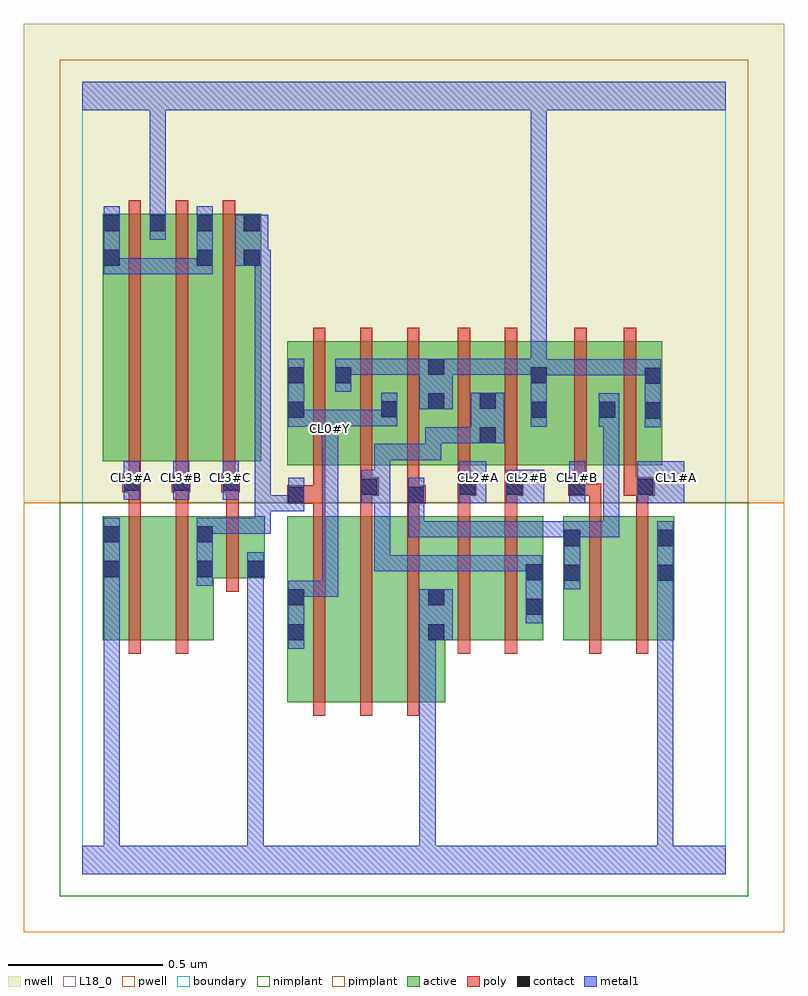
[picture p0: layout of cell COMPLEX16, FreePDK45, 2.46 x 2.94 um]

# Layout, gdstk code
import gdstk
lib = gdstk.Library(unit=1e-6, precision=1e-09)
def R(c, l, rs):  # rectangles x0, y0, x1, y1
    for r in rs: c.add(gdstk.rectangle(r[:2], r[2:], *l))
def A(c, l, x, y, w, h, nx, ny, dx, dy):  # array of equal rectangles
    R(c, l, [(x+i*dx, y+j*dy, x+i*dx+w, y+j*dy+h) for i in range(nx) for j in range(ny)])
active = (1, 0)
pwell = (2, 0)
nwell = (3, 0)
nimplant = (4, 0)
pimplant = (5, 0)
poly = (9, 0)
contact = (10, 0)
metal1 = (11, 0)
L18_0 = (18, 0)
boundary = (235, 0)

complex16 = lib.new_cell('COMPLEX16')
R(complex16, active, [(0.662,0.556,0.842,1.156), (0.662,0.556,0.722,1.156), (0.842,0.556,0.994,1.156), (0.994,0.556,1.174,1.156), (1.114,0.556,1.174,0.958), (0.066,0.756,0.126,1.156), (0.066,0.756,0.246,1.156), (0.246,0.756,0.426,1.156), (0.366,0.756,0.426,1.128), (1.114,0.756,1.31,1.156), (1.31,0.756,1.49,1.156), (1.43,0.756,1.49,1.156), (1.554,0.756,1.614,1.156), (1.554,0.756,1.734,1.156), (1.734,0.756,1.914,1.156), (1.854,0.756,1.914,1.156), (0.366,0.956,0.59,1.156), (0.53,0.956,0.59,1.156), (0.662,1.322,0.722,1.722), (0.662,1.322,0.874,1.722), (0.814,1.322,1.022,1.722), (0.962,1.322,1.022,1.722), (0.962,1.322,1.174,1.722), (1.114,1.322,1.174,1.722), (1.114,1.322,1.34,1.722), (1.28,1.322,1.34,1.722), (1.28,1.322,1.506,1.722), (1.446,1.322,1.726,1.722), (1.666,1.322,1.726,1.722), (1.666,1.322,1.874,1.722), (1.814,1.322,1.874,1.722), (0.066,1.334,0.126,2.134), (0.066,1.334,0.274,2.134), (0.214,1.334,0.426,2.134), (0.366,1.334,0.578,2.134), (0.518,1.334,0.578,2.134), (1.446,1.36,1.506,1.722), (0.214,1.526,0.274,2.134), (0.814,1.582,0.874,1.644), (0.366,1.686,0.426,2.134)])
R(complex16, pwell, [(-0.188,-0.188,2.268,1.2)])
R(complex16, nwell, [(-0.188,1.2,2.268,2.748)])
R(complex16, nimplant, [(-0.072,-0.072,2.152,1.2)])
R(complex16, pimplant, [(-0.072,1.2,2.152,2.632)])
A(complex16, poly, 0.746, 0.512, 0.04, 0.688, 3, 1, 0.152, 0)
A(complex16, poly, 0.13, 1.234, 0.06, 0.06, 3, 1, 0.16, 0)
A(complex16, poly, 0.15, 1.254, 0.04, 0.076, 3, 1, 0.152, 0)
A(complex16, poly, 0.746, 1.278, 0.04, 0.488, 3, 1, 0.152, 0)
A(complex16, poly, 0.15, 1.29, 0.04, 0.888, 3, 1, 0.152, 0)
R(complex16, poly, [(0.15,0.712,0.19,1.2), (0.302,0.712,0.342,1.2), (1.214,0.712,1.254,1.2), (1.366,0.712,1.406,1.2), (1.638,0.712,1.678,1.2), (1.79,0.712,1.83,1.2), (0.466,0.912,0.506,1.2), (0.15,1.16,0.19,1.274), (0.302,1.16,0.342,1.274), (0.466,1.16,0.506,1.274), (0.746,1.16,0.786,1.236), (0.898,1.16,0.938,1.262), (1.05,1.16,1.09,1.236), (1.214,1.16,1.254,1.262), (1.366,1.16,1.406,1.262), (1.638,1.16,1.678,1.262), (1.79,1.16,1.83,1.262), (0.662,1.196,0.786,1.256), (1.05,1.196,1.11,1.256), (0.746,1.216,0.786,1.256), (0.746,1.216,0.786,1.256), (0.746,1.216,0.786,1.318), (1.05,1.216,1.09,1.256), (1.05,1.216,1.09,1.256), (1.05,1.216,1.09,1.318), (0.898,1.222,0.938,1.262), (0.898,1.222,0.938,1.262), (0.898,1.222,0.958,1.282), (1.214,1.222,1.254,1.262), (1.214,1.222,1.254,1.262), (1.214,1.222,1.274,1.282), (1.366,1.222,1.406,1.262), (1.366,1.222,1.406,1.262), (1.366,1.222,1.426,1.282), (1.57,1.222,1.63,1.282), (1.59,1.222,1.63,1.262), (1.59,1.222,1.678,1.262), (1.75,1.222,1.85,1.282), (1.79,1.222,1.83,1.262), (1.79,1.222,1.83,1.262), (0.898,1.242,0.938,1.318), (1.214,1.242,1.254,1.318), (1.366,1.242,1.406,1.318), (1.59,1.242,1.63,1.318), (1.75,1.242,1.79,1.318), (0.15,1.254,0.19,1.294), (0.15,1.254,0.19,1.294), (0.302,1.254,0.342,1.294), (0.302,1.254,0.342,1.294), (0.454,1.254,0.494,1.294), (0.454,1.254,0.494,1.294), (1.214,1.278,1.254,1.766), (1.366,1.278,1.406,1.766), (1.59,1.278,1.63,1.766), (1.75,1.278,1.79,1.766)])
A(complex16, contact, 0.134, 1.238, 0.052, 0.052, 3, 1, 0.16, 0)
A(complex16, contact, 0.218, 2.078, 0.052, 0.052, 3, 1, 0.152, 0)
R(complex16, contact, [(0.666,0.756,0.718,0.808), (1.118,0.756,1.17,0.808), (1.434,0.838,1.486,0.89), (0.666,0.868,0.718,0.92), (1.118,0.868,1.17,0.92), (1.558,0.948,1.61,1), (1.858,0.948,1.91,1), (1.434,0.95,1.486,1.002), (0.07,0.96,0.122,1.012), (0.37,0.96,0.422,1.012), (0.534,0.96,0.586,1.012), (1.558,1.06,1.61,1.112), (1.858,1.06,1.91,1.112), (0.07,1.072,0.122,1.124), (0.37,1.072,0.422,1.124), (0.666,1.2,0.718,1.252), (1.054,1.2,1.106,1.252), (0.902,1.226,0.954,1.278), (1.218,1.226,1.27,1.278), (1.37,1.226,1.422,1.278), (1.574,1.226,1.626,1.278), (1.794,1.226,1.846,1.278), (1.284,1.392,1.336,1.444), (1.818,1.472,1.87,1.524), (0.666,1.474,0.718,1.526), (1.45,1.474,1.502,1.526), (1.67,1.474,1.722,1.526), (0.966,1.476,1.018,1.528), (1.118,1.502,1.17,1.554), (1.284,1.504,1.336,1.556), (1.818,1.584,1.87,1.636), (0.666,1.586,0.718,1.638), (0.818,1.586,0.87,1.638), (1.45,1.586,1.502,1.638), (1.118,1.614,1.17,1.666), (0.07,1.966,0.122,2.018), (0.37,1.966,0.422,2.018), (0.522,1.966,0.574,2.018), (0.07,2.078,0.122,2.13)])
A(complex16, metal1, 0.134, 1.21, 0.052, 0.124, 3, 1, 0.16, 0)
R(complex16, metal1, [(0,0,2.08,0.092), (0.07,0.04,0.122,0.092), (0.07,0.04,0.122,0.092), (0.07,0.04,0.122,0.092), (0.07,0.04,0.122,0.092), (0.07,0.04,0.122,0.092), (0.07,0.04,0.122,0.092), (0.07,0.04,0.122,0.092), (0.07,0.04,0.122,0.092), (0.07,0.04,0.122,0.092), (0.07,0.04,0.122,0.092), (0.07,0.04,0.122,0.984), (0.534,0.04,0.586,0.092), (0.534,0.04,0.586,0.092), (0.534,0.04,0.586,0.092), (0.534,0.04,0.586,0.092), (0.534,0.04,0.586,0.092), (0.534,0.04,0.586,0.092), (0.534,0.04,0.586,0.092), (0.534,0.04,0.586,0.092), (0.534,0.04,0.586,0.092), (0.534,0.04,0.586,0.092), (0.534,0.04,0.586,0.092), (0.534,0.04,0.586,0.092), (0.534,0.04,0.586,0.092), (0.534,0.04,0.586,0.092), (0.534,0.04,0.586,0.984), (1.09,0.04,1.142,0.092), (1.09,0.04,1.142,0.092), (1.09,0.04,1.142,0.092), (1.09,0.04,1.142,0.092), (1.09,0.04,1.142,0.092), (1.09,0.04,1.142,0.092), (1.09,0.04,1.142,0.092), (1.09,0.04,1.142,0.092), (1.09,0.04,1.142,0.808), (1.858,0.04,1.91,0.092), (1.858,0.04,1.91,0.092), (1.858,0.04,1.91,0.092), (1.858,0.04,1.91,0.092), (1.858,0.04,1.91,0.972), (0.666,0.728,0.718,0.948), (1.09,0.756,1.198,0.92), (1.434,0.81,1.486,1.03), (0.666,0.896,0.828,0.948), (0.776,0.896,0.828,0.948), (0.776,0.896,0.828,0.948), (0.776,0.896,0.828,0.948), (0.776,0.896,0.828,1.438), (1.558,0.92,1.61,1.14), (1.858,0.92,1.91,0.972), (1.858,0.92,1.91,0.972), (1.858,0.92,1.91,0.972), (1.858,0.92,1.91,0.972), (1.858,0.92,1.91,0.972), (1.858,0.92,1.91,0.972), (1.858,0.92,1.91,0.972), (1.858,0.92,1.91,0.972), (1.858,0.92,1.91,1.14), (0.07,0.932,0.122,0.984), (0.07,0.932,0.122,0.984), (0.07,0.932,0.122,1.152), (0.37,0.932,0.422,1.152), (0.534,0.932,0.586,0.984), (0.534,0.932,0.586,0.984), (0.534,0.932,0.586,1.04), (0.944,0.978,0.996,1.03), (0.944,0.978,1.106,1.03), (0.944,0.978,0.996,1.306), (1.054,0.978,1.106,1.03), (1.054,0.978,1.106,1.03), (1.054,0.978,1.106,1.03), (1.054,0.978,1.308,1.03), (1.256,0.978,1.308,1.03), (1.256,0.978,1.308,1.03), (1.256,0.978,1.308,1.03), (1.256,0.978,1.486,1.03), (1.434,0.978,1.486,1.03), (1.434,0.978,1.486,1.03), (1.054,1.088,1.106,1.224), (1.054,1.088,1.308,1.14), (1.256,1.088,1.308,1.14), (1.256,1.088,1.308,1.14), (1.256,1.088,1.308,1.14), (1.256,1.088,1.5,1.14), (1.448,1.088,1.5,1.14), (1.448,1.088,1.5,1.14), (1.448,1.088,1.5,1.14), (1.448,1.088,1.61,1.14), (1.558,1.088,1.61,1.14), (1.558,1.088,1.612,1.14), (1.56,1.088,1.612,1.14), (1.56,1.088,1.612,1.14), (1.56,1.088,1.736,1.14), (1.684,1.088,1.736,1.14), (1.684,1.088,1.736,1.498), (0.37,1.1,0.606,1.152), (0.554,1.1,0.606,1.152), (0.554,1.1,0.61,1.152), (0.558,1.1,0.61,1.152), (0.558,1.1,0.61,1.224), (0.558,1.172,0.61,1.224), (0.558,1.172,0.716,1.224), (0.558,1.172,0.61,2.018), (0.664,1.172,0.716,1.224), (0.664,1.172,0.718,1.224), (0.666,1.172,0.718,1.28), (1.054,1.172,1.106,1.224), (1.054,1.172,1.106,1.28), (0.902,1.198,0.954,1.306), (1.218,1.198,1.306,1.334), (1.37,1.198,1.494,1.306), (1.574,1.198,1.626,1.334), (1.794,1.198,1.946,1.334), (0.902,1.254,0.996,1.306), (0.944,1.254,0.996,1.306), (0.944,1.254,0.996,1.306), (0.944,1.254,0.996,1.39), (0.944,1.338,1.16,1.39), (1.108,1.338,1.16,1.39), (1.108,1.338,1.16,1.39), (1.108,1.338,1.16,1.39), (1.108,1.338,1.16,1.39), (1.108,1.338,1.16,1.444), (0.774,1.386,0.828,1.494), (1.108,1.392,1.308,1.444), (1.256,1.392,1.308,1.444), (1.256,1.392,1.308,1.444), (1.256,1.392,1.364,1.556), (0.776,1.442,0.828,1.494), (0.776,1.442,0.828,1.5), (1.818,1.444,1.87,1.664), (0.666,1.446,0.718,1.666), (1.45,1.446,1.502,1.666), (1.67,1.446,1.736,1.554), (1.684,1.446,1.736,1.498), (1.684,1.446,1.736,1.498), (0.666,1.448,0.828,1.5), (0.776,1.448,0.828,1.5), (0.776,1.448,0.828,1.5), (0.776,1.448,0.828,1.5), (0.776,1.448,0.828,1.5), (0.776,1.448,0.938,1.5), (0.886,1.448,0.938,1.5), (0.886,1.448,1.018,1.5), (0.966,1.448,1.018,1.556), (1.09,1.502,1.198,1.666), (0.818,1.558,0.87,1.666), (1.45,1.612,1.61,1.664), (1.558,1.612,1.61,1.664), (1.558,1.612,1.722,1.664), (1.67,1.612,1.722,1.664), (1.67,1.612,1.722,1.664), (1.67,1.612,1.722,1.664), (1.67,1.612,1.87,1.664), (1.818,1.612,1.87,1.664), (1.818,1.612,1.87,1.664), (0.818,1.614,0.98,1.666), (0.928,1.614,0.98,1.666), (0.928,1.614,0.98,1.666), (0.928,1.614,0.98,1.666), (0.928,1.614,1.142,1.666), (1.09,1.614,1.142,1.666), (1.09,1.614,1.142,1.666), (1.146,1.614,1.312,1.666), (1.26,1.614,1.312,1.666), (1.26,1.614,1.312,1.666), (1.26,1.614,1.312,1.666), (1.26,1.614,1.5,1.666), (1.448,1.614,1.5,1.666), (1.448,1.614,1.502,1.666), (1.45,1.614,1.502,1.666), (1.45,1.614,1.502,1.666), (1.45,1.614,1.502,1.666), (1.45,1.614,1.502,1.666), (1.45,1.614,1.502,1.666), (1.45,1.614,1.502,1.666), (1.45,1.614,1.502,2.52), (0.07,1.938,0.122,1.99), (0.07,1.938,0.122,1.99), (0.07,1.938,0.122,2.158), (0.07,1.938,0.312,1.99), (0.26,1.938,0.312,1.99), (0.26,1.938,0.312,1.99), (0.26,1.938,0.312,1.99), (0.26,1.938,0.422,1.99), (0.37,1.938,0.422,2.158), (0.494,1.966,0.602,2.13), (0.55,1.966,0.602,2.018), (0.55,1.966,0.61,2.018), (0.218,2.05,0.27,2.158), (0.218,2.106,0.27,2.52), (0,2.468,2.08,2.56), (0.218,2.468,0.27,2.52), (0.218,2.468,0.27,2.52), (0.218,2.468,0.27,2.52), (0.218,2.468,0.27,2.52), (0.218,2.468,0.27,2.52), (0.218,2.468,0.27,2.52), (0.218,2.468,0.27,2.52), (0.218,2.468,0.27,2.52), (1.45,2.468,1.502,2.52), (1.45,2.468,1.502,2.52), (1.45,2.468,1.502,2.52), (1.45,2.468,1.502,2.52), (1.45,2.468,1.502,2.52), (1.45,2.468,1.502,2.52), (1.45,2.468,1.502,2.52), (1.45,2.468,1.502,2.52), (1.45,2.468,1.502,2.52), (1.45,2.468,1.502,2.52)])
A(complex16, L18_0, 0.134, 1.21, 0.052, 0.124, 3, 1, 0.16, 0)
A(complex16, L18_0, 0.134, 1.254, 0.052, 0.052, 3, 1, 0.16, 0)
A(complex16, L18_0, 1.254, 1.254, 0.052, 0.052, 3, 1, 0.16, 0)
R(complex16, L18_0, [(0,0,2.08,0.092), (0.07,0.04,0.122,0.092), (0.07,0.04,0.122,0.092), (0.07,0.04,0.122,0.092), (0.07,0.04,0.122,0.092), (0.07,0.04,0.122,0.092), (0.07,0.04,0.122,0.092), (0.07,0.04,0.122,0.092), (0.07,0.04,0.122,0.092), (0.07,0.04,0.122,0.092), (0.07,0.04,0.122,0.092), (0.07,0.04,0.122,0.984), (0.534,0.04,0.586,0.092), (0.534,0.04,0.586,0.092), (0.534,0.04,0.586,0.092), (0.534,0.04,0.586,0.092), (0.534,0.04,0.586,0.092), (0.534,0.04,0.586,0.092), (0.534,0.04,0.586,0.092), (0.534,0.04,0.586,0.092), (0.534,0.04,0.586,0.092), (0.534,0.04,0.586,0.092), (0.534,0.04,0.586,0.092), (0.534,0.04,0.586,0.092), (0.534,0.04,0.586,0.092), (0.534,0.04,0.586,0.092), (0.534,0.04,0.586,0.984), (1.09,0.04,1.142,0.092), (1.09,0.04,1.142,0.092), (1.09,0.04,1.142,0.092), (1.09,0.04,1.142,0.092), (1.09,0.04,1.142,0.092), (1.09,0.04,1.142,0.092), (1.09,0.04,1.142,0.092), (1.09,0.04,1.142,0.092), (1.09,0.04,1.142,0.808), (1.858,0.04,1.91,0.092), (1.858,0.04,1.91,0.092), (1.858,0.04,1.91,0.092), (1.858,0.04,1.91,0.092), (1.858,0.04,1.91,0.972), (0.666,0.728,0.718,0.948), (1.09,0.756,1.198,0.92), (0.666,0.896,0.828,0.948), (0.776,0.896,0.828,0.948), (0.776,0.896,0.828,0.948), (0.776,0.896,0.828,0.948), (0.776,0.896,0.828,1.438), (1.858,0.92,1.91,0.972), (1.858,0.92,1.91,0.972), (1.858,0.92,1.91,0.972), (1.858,0.92,1.91,0.972), (1.858,0.92,1.91,0.972), (1.858,0.92,1.91,0.972), (1.858,0.92,1.91,0.972), (1.858,0.92,1.91,0.972), (1.858,0.92,1.91,1.14), (0.07,0.932,0.122,0.984), (0.07,0.932,0.122,0.984), (0.07,0.932,0.122,1.152), (0.534,0.932,0.586,0.984), (0.534,0.932,0.586,0.984), (0.534,0.932,0.586,1.04), (1.218,1.198,1.306,1.334), (1.37,1.198,1.494,1.306), (1.574,1.198,1.626,1.334), (1.794,1.198,1.946,1.334), (1.894,1.254,1.946,1.306), (0.774,1.386,0.828,1.494), (0.774,1.414,0.826,1.466), (0.776,1.442,0.828,1.494), (0.776,1.442,0.828,1.5), (1.818,1.444,1.87,1.664), (0.666,1.446,0.718,1.666), (1.45,1.446,1.502,1.666), (0.666,1.448,0.828,1.5), (0.776,1.448,0.828,1.5), (0.776,1.448,0.828,1.5), (0.776,1.448,0.828,1.5), (0.776,1.448,0.828,1.5), (0.776,1.448,0.938,1.5), (0.886,1.448,0.938,1.5), (0.886,1.448,1.018,1.5), (0.966,1.448,1.018,1.556), (1.09,1.502,1.198,1.666), (0.818,1.558,0.87,1.666), (1.45,1.612,1.61,1.664), (1.558,1.612,1.61,1.664), (1.558,1.612,1.722,1.664), (1.67,1.612,1.722,1.664), (1.67,1.612,1.722,1.664), (1.67,1.612,1.722,1.664), (1.67,1.612,1.87,1.664), (1.818,1.612,1.87,1.664), (1.818,1.612,1.87,1.664), (0.818,1.614,0.98,1.666), (0.928,1.614,0.98,1.666), (0.928,1.614,0.98,1.666), (0.928,1.614,0.98,1.666), (0.928,1.614,1.142,1.666), (1.09,1.614,1.142,1.666), (1.09,1.614,1.142,1.666), (1.146,1.614,1.312,1.666), (1.26,1.614,1.312,1.666), (1.26,1.614,1.312,1.666), (1.26,1.614,1.312,1.666), (1.26,1.614,1.5,1.666), (1.448,1.614,1.5,1.666), (1.448,1.614,1.502,1.666), (1.45,1.614,1.502,1.666), (1.45,1.614,1.502,1.666), (1.45,1.614,1.502,1.666), (1.45,1.614,1.502,1.666), (1.45,1.614,1.502,1.666), (1.45,1.614,1.502,1.666), (1.45,1.614,1.502,2.52), (0.218,2.05,0.27,2.158), (0.218,2.106,0.27,2.52), (0,2.468,2.08,2.56), (0.218,2.468,0.27,2.52), (0.218,2.468,0.27,2.52), (0.218,2.468,0.27,2.52), (0.218,2.468,0.27,2.52), (0.218,2.468,0.27,2.52), (0.218,2.468,0.27,2.52), (0.218,2.468,0.27,2.52), (0.218,2.468,0.27,2.52), (1.45,2.468,1.502,2.52), (1.45,2.468,1.502,2.52), (1.45,2.468,1.502,2.52), (1.45,2.468,1.502,2.52), (1.45,2.468,1.502,2.52), (1.45,2.468,1.502,2.52), (1.45,2.468,1.502,2.52), (1.45,2.468,1.502,2.52), (1.45,2.468,1.502,2.52), (1.45,2.468,1.502,2.52)])
R(complex16, boundary, [(0,0,2.08,2.56)])
complex16.add(gdstk.Label('CL0#Y', (0.8,1.44), layer=11, texttype=0))
complex16.add(gdstk.Label('CL1#A', (1.92,1.28), layer=11, texttype=0))
complex16.add(gdstk.Label('CL1#B', (1.6,1.28), layer=11, texttype=0))
complex16.add(gdstk.Label('CL2#A', (1.28,1.28), layer=11, texttype=0))
complex16.add(gdstk.Label('CL2#B', (1.44,1.28), layer=11, texttype=0))
complex16.add(gdstk.Label('CL3#A', (0.16,1.28), layer=11, texttype=0))
complex16.add(gdstk.Label('CL3#B', (0.32,1.28), layer=11, texttype=0))
complex16.add(gdstk.Label('CL3#C', (0.48,1.28), layer=11, texttype=0))

lib.write_gds('COMPLEX16.gds')
